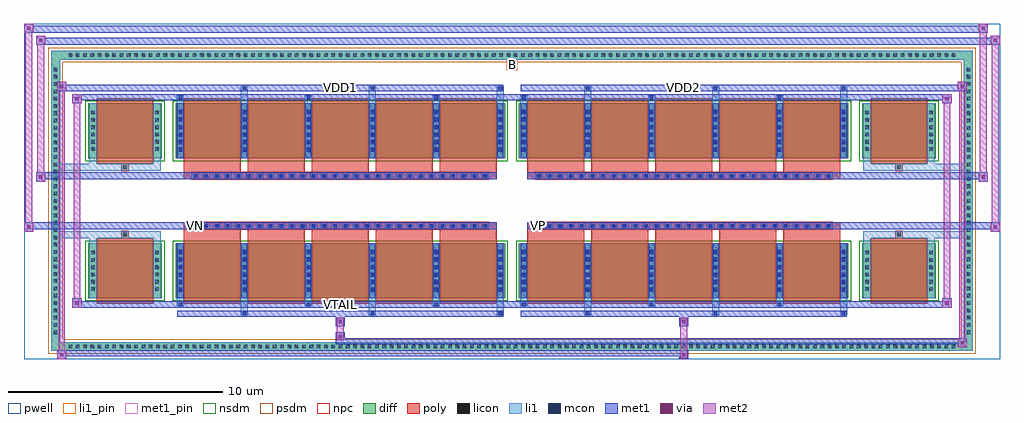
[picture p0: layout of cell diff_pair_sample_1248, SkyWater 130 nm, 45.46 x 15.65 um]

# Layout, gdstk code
import gdstk
lib = gdstk.Library(unit=1e-6, precision=5e-09)
def R(c, l, rs):  # rectangles x0, y0, x1, y1
    for r in rs: c.add(gdstk.rectangle(r[:2], r[2:], *l))
def A(c, l, x, y, w, h, nx, ny, dx, dy):  # array of equal rectangles
    R(c, l, [(x+i*dx, y+j*dy, x+i*dx+w, y+j*dy+h) for i in range(nx) for j in range(ny)])
def P(c, l, *ps):  # polygons
    for p in ps: c.add(gdstk.Polygon(p, *l))
pwell = (64, 44)
diff = (65, 20)
poly = (66, 20)
licon = (66, 44)
li1_pin = (67, 16)
li1 = (67, 20)
mcon = (67, 44)
met1_pin = (68, 16)
met1 = (68, 20)
via = (68, 44)
met2 = (69, 20)
nsdm = (93, 44)
psdm = (94, 20)
npc = (95, 20)

diff_pair_sample_1248 = lib.new_cell('diff_pair_sample_1248')
R(diff_pair_sample_1248, pwell, [(-22.73,-7.39,22.73,8.26), (-20.05,-5.58,-0.01,-0.8), (0.01,-5.58,20.05,-0.8), (-20.05,0.8,-0.01,5.58), (0.01,0.8,20.05,5.58)])
A(diff_pair_sample_1248, diff, -20.775, -6.99, 0.41, 0.41, 122, 2, 0.34, 13.57)
A(diff_pair_sample_1248, diff, -21.46, -6.325, 0.41, 0.41, 1, 37, 0, 0.34)
A(diff_pair_sample_1248, diff, 21.05, -6.325, 0.41, 0.41, 1, 37, 0, 0.34)
R(diff_pair_sample_1248, diff, [(-20.775,-6.99,20.775,-6.58), (-21.46,-6.325,-21.05,6.325), (21.05,-6.325,21.46,6.325), (-19.74,-4.535,-16.31,-1.985), (-15.67,-4.535,-0.32,-1.985), (0.32,-4.535,15.67,-1.985), (16.31,-4.535,19.74,-1.985), (-19.74,1.985,-16.31,4.535), (-15.67,1.985,-0.32,4.535), (0.32,1.985,15.67,4.535), (16.31,1.985,19.74,4.535), (-20.775,6.58,20.775,6.99)])
P(diff_pair_sample_1248, diff, [(21.46,6.99),(-21.46,6.99),(-21.46,-6.58),(-21.05,-6.58),(-21.05,6.58),(21.05,6.58),(21.05,-6.58),(-21.05,-6.58),(-21.46,-6.58),(-21.46,-6.99),(21.46,-6.99)])
A(diff_pair_sample_1248, poly, -15.28, -4.785, 2.65, 3.05, 5, 2, 2.98, 6.52)
A(diff_pair_sample_1248, poly, 0.71, -4.785, 2.65, 3.05, 5, 2, 2.98, 6.52)
A(diff_pair_sample_1248, poly, -15.28, -1.735, 2.65, 0.405, 5, 2, 2.98, 3.065)
A(diff_pair_sample_1248, poly, 0.71, -1.735, 2.65, 0.405, 5, 2, 2.98, 3.065)
A(diff_pair_sample_1248, poly, -14.91, -1.33, 0.33, 0.33, 28, 2, 0.5, 2.33)
A(diff_pair_sample_1248, poly, 1.08, -1.33, 0.33, 0.33, 28, 2, 0.5, 2.33)
R(diff_pair_sample_1248, poly, [(-19.35,-4.785,-16.7,-1.735), (16.7,-4.785,19.35,-1.735), (-18.19,-1.735,-17.86,-1.405), (-18.19,-1.735,-17.86,-1.405), (17.86,-1.735,18.19,-1.405), (17.86,-1.735,18.19,-1.405), (-15.28,-1.33,-0.71,-1), (0.71,-1.33,15.28,-1), (-15.28,1,-0.71,1.33), (0.71,1,15.28,1.33), (-18.19,1.405,-17.86,1.735), (-18.19,1.405,-17.86,1.735), (17.86,1.405,18.19,1.735), (17.86,1.405,18.19,1.735), (-19.35,1.735,-16.7,4.785), (16.7,1.735,19.35,4.785)])
A(diff_pair_sample_1248, licon, -20.655, -6.87, 0.17, 0.17, 122, 2, 0.34, 13.57)
A(diff_pair_sample_1248, licon, -21.34, -6.205, 0.17, 0.17, 1, 37, 0, 0.34)
A(diff_pair_sample_1248, licon, 21.17, -6.205, 0.17, 0.17, 1, 37, 0, 0.34)
A(diff_pair_sample_1248, licon, -19.6, -4.195, 0.17, 0.17, 1, 6, 0, 0.34)
A(diff_pair_sample_1248, licon, -16.62, -4.195, 0.17, 0.17, 1, 6, 0, 0.34)
A(diff_pair_sample_1248, licon, -15.53, -4.195, 0.17, 0.17, 6, 6, 2.98, 0.34)
A(diff_pair_sample_1248, licon, 0.46, -4.195, 0.17, 0.17, 6, 6, 2.98, 0.34)
A(diff_pair_sample_1248, licon, 16.45, -4.195, 0.17, 0.17, 1, 6, 0, 0.34)
A(diff_pair_sample_1248, licon, 19.43, -4.195, 0.17, 0.17, 1, 6, 0, 0.34)
A(diff_pair_sample_1248, licon, -14.83, -1.25, 0.17, 0.17, 28, 2, 0.5, 2.33)
A(diff_pair_sample_1248, licon, 1.16, -1.25, 0.17, 0.17, 28, 2, 0.5, 2.33)
A(diff_pair_sample_1248, licon, -19.6, 2.325, 0.17, 0.17, 1, 6, 0, 0.34)
A(diff_pair_sample_1248, licon, -16.62, 2.325, 0.17, 0.17, 1, 6, 0, 0.34)
A(diff_pair_sample_1248, licon, -15.53, 2.325, 0.17, 0.17, 6, 6, 2.98, 0.34)
A(diff_pair_sample_1248, licon, 0.46, 2.325, 0.17, 0.17, 6, 6, 2.98, 0.34)
A(diff_pair_sample_1248, licon, 16.45, 2.325, 0.17, 0.17, 1, 6, 0, 0.34)
A(diff_pair_sample_1248, licon, 19.43, 2.325, 0.17, 0.17, 1, 6, 0, 0.34)
R(diff_pair_sample_1248, licon, [(-18.11,-1.655,-17.94,-1.485), (17.94,-1.655,18.11,-1.485), (-18.11,1.485,-17.94,1.655), (17.94,1.485,18.11,1.655)])
R(diff_pair_sample_1248, li1_pin, [(-0.25,6.08,0.25,6.58)])
A(diff_pair_sample_1248, li1, -20.735, -6.95, 0.33, 0.33, 122, 2, 0.34, 13.57)
A(diff_pair_sample_1248, li1, -21.42, -6.285, 0.33, 0.33, 1, 37, 0, 0.34)
A(diff_pair_sample_1248, li1, 21.09, -6.285, 0.33, 0.33, 1, 37, 0, 0.34)
A(diff_pair_sample_1248, li1, -12.63, -5.34, 0.33, 0.805, 3, 2, 5.96, 9.875)
A(diff_pair_sample_1248, li1, -12.55, -5.34, 0.17, 0.17, 3, 2, 5.96, 10.51)
A(diff_pair_sample_1248, li1, 3.36, -5.34, 0.33, 0.805, 3, 2, 5.96, 9.875)
A(diff_pair_sample_1248, li1, 3.44, -5.34, 0.17, 0.17, 3, 2, 5.96, 10.51)
A(diff_pair_sample_1248, li1, -15.61, -4.91, 0.33, 0.375, 3, 2, 5.96, 9.445)
A(diff_pair_sample_1248, li1, -15.53, -4.91, 0.17, 0.17, 3, 2, 5.96, 9.65)
A(diff_pair_sample_1248, li1, 0.38, -4.91, 0.33, 0.375, 3, 2, 5.96, 9.445)
A(diff_pair_sample_1248, li1, 0.46, -4.91, 0.17, 0.17, 3, 2, 5.96, 9.65)
A(diff_pair_sample_1248, li1, -15.61, -4.535, 0.33, 2.55, 6, 2, 2.98, 6.52)
A(diff_pair_sample_1248, li1, 0.38, -4.535, 0.33, 2.55, 6, 2, 2.98, 6.52)
A(diff_pair_sample_1248, li1, -19.68, -4.275, 0.33, 0.33, 1, 6, 0, 0.34)
A(diff_pair_sample_1248, li1, -16.7, -4.275, 0.33, 0.33, 1, 6, 0, 0.34)
A(diff_pair_sample_1248, li1, -15.61, -4.275, 0.33, 0.33, 6, 6, 2.98, 0.34)
A(diff_pair_sample_1248, li1, 0.38, -4.275, 0.33, 0.33, 6, 6, 2.98, 0.34)
A(diff_pair_sample_1248, li1, 16.37, -4.275, 0.33, 0.33, 1, 6, 0, 0.34)
A(diff_pair_sample_1248, li1, 19.35, -4.275, 0.33, 0.33, 1, 6, 0, 0.34)
A(diff_pair_sample_1248, li1, -15.53, -4.245, 0.17, 0.17, 6, 6, 2.98, 0.36)
A(diff_pair_sample_1248, li1, -15.53, -4.245, 0.17, 1.97, 6, 2, 2.98, 6.52)
A(diff_pair_sample_1248, li1, 0.46, -4.245, 0.17, 0.17, 6, 6, 2.98, 0.36)
A(diff_pair_sample_1248, li1, 0.46, -4.245, 0.17, 1.97, 6, 2, 2.98, 6.52)
A(diff_pair_sample_1248, li1, -14.91, -1.33, 0.33, 0.33, 28, 2, 0.5, 2.33)
A(diff_pair_sample_1248, li1, 1.08, -1.33, 0.33, 0.33, 28, 2, 0.5, 2.33)
A(diff_pair_sample_1248, li1, -19.68, 2.245, 0.33, 0.33, 1, 6, 0, 0.34)
A(diff_pair_sample_1248, li1, -16.7, 2.245, 0.33, 0.33, 1, 6, 0, 0.34)
A(diff_pair_sample_1248, li1, -15.61, 2.245, 0.33, 0.33, 6, 6, 2.98, 0.34)
A(diff_pair_sample_1248, li1, 0.38, 2.245, 0.33, 0.33, 6, 6, 2.98, 0.34)
A(diff_pair_sample_1248, li1, 16.37, 2.245, 0.33, 0.33, 1, 6, 0, 0.34)
A(diff_pair_sample_1248, li1, 19.35, 2.245, 0.33, 0.33, 1, 6, 0, 0.34)
A(diff_pair_sample_1248, li1, -15.53, 2.275, 0.17, 0.17, 6, 6, 2.98, 0.36)
A(diff_pair_sample_1248, li1, 0.46, 2.275, 0.17, 0.17, 6, 6, 2.98, 0.36)
R(diff_pair_sample_1248, li1, [(-21.46,-6.99,-21.05,-6.58), (-21.46,-6.99,-21.05,-6.58), (-21.05,-6.99,21.05,-6.58), (21.05,-6.99,21.46,-6.58), (21.05,-6.99,21.46,-6.58), (-21.46,-6.58,-21.05,6.58), (21.05,-6.58,21.46,6.58), (-19.68,-4.535,-19.35,-1.985), (-16.7,-4.535,-16.37,-1.985), (16.37,-4.535,16.7,-1.985), (19.35,-4.535,19.68,-1.985), (-19.68,-1.985,-19.35,-1.405), (-16.7,-1.985,-16.37,-1.405), (16.37,-1.985,16.7,-1.405), (19.35,-1.985,19.68,-1.405), (-21.46,-1.735,-18.19,-1.405), (-19.68,-1.735,-18.19,-1.405), (-18.19,-1.735,-17.86,-1.405), (-17.86,-1.735,-16.37,-1.405), (16.37,-1.735,17.86,-1.405), (17.86,-1.735,18.19,-1.405), (17.86,-1.735,21.46,-1.405), (18.19,-1.735,19.68,-1.405), (-21.46,1.405,-18.19,1.735), (-19.68,1.405,-18.19,1.735), (-19.68,1.405,-19.35,1.985), (-18.19,1.405,-17.86,1.735), (-17.86,1.405,-16.37,1.735), (-16.7,1.405,-16.37,1.985), (16.37,1.405,17.86,1.735), (16.37,1.405,16.7,1.985), (17.86,1.405,18.19,1.735), (17.86,1.405,21.46,1.735), (18.19,1.405,19.68,1.735), (19.35,1.405,19.68,1.985), (-19.68,1.985,-19.35,4.535), (-16.7,1.985,-16.37,4.535), (16.37,1.985,16.7,4.535), (19.35,1.985,19.68,4.535), (-21.46,6.58,-21.05,6.99), (-21.46,6.58,-21.05,6.99), (-21.05,6.58,21.05,6.99), (21.05,6.58,21.46,6.99), (21.05,6.58,21.46,6.99)])
A(diff_pair_sample_1248, mcon, -12.55, -5.34, 0.17, 0.17, 3, 2, 5.96, 10.51)
A(diff_pair_sample_1248, mcon, 3.44, -5.34, 0.17, 0.17, 3, 2, 5.96, 10.51)
A(diff_pair_sample_1248, mcon, -15.53, -4.91, 0.17, 0.17, 3, 2, 5.96, 9.65)
A(diff_pair_sample_1248, mcon, 0.46, -4.91, 0.17, 0.17, 3, 2, 5.96, 9.65)
A(diff_pair_sample_1248, mcon, -15.53, -4.245, 0.17, 0.17, 6, 6, 2.98, 0.36)
A(diff_pair_sample_1248, mcon, 0.46, -4.245, 0.17, 0.17, 6, 6, 2.98, 0.36)
A(diff_pair_sample_1248, mcon, -14.83, -1.25, 0.17, 0.17, 28, 2, 0.5, 2.33)
A(diff_pair_sample_1248, mcon, 1.16, -1.25, 0.17, 0.17, 28, 2, 0.5, 2.33)
A(diff_pair_sample_1248, mcon, -15.53, 2.275, 0.17, 0.17, 6, 6, 2.98, 0.36)
A(diff_pair_sample_1248, mcon, 0.46, 2.275, 0.17, 0.17, 6, 6, 2.98, 0.36)
R(diff_pair_sample_1248, met1_pin, [(-8.13,-4.95,-7.86,-4.68), (-14.88,-1.29,-14.61,-1.02), (1.11,-1.29,1.38,-1.02), (-8.13,5.13,-7.86,5.4), (7.86,5.13,8.13,5.4)])
A(diff_pair_sample_1248, met1, -12.61, -5.4, 0.29, 0.29, 3, 2, 5.96, 10.51)
A(diff_pair_sample_1248, met1, 3.38, -5.4, 0.29, 0.29, 3, 2, 5.96, 10.51)
A(diff_pair_sample_1248, met1, -15.59, -4.97, 0.29, 0.29, 3, 2, 5.96, 9.65)
A(diff_pair_sample_1248, met1, 0.4, -4.97, 0.29, 0.29, 3, 2, 5.96, 9.65)
A(diff_pair_sample_1248, met1, -15.59, -4.535, 0.29, 2.55, 6, 2, 2.98, 6.52)
A(diff_pair_sample_1248, met1, 0.4, -4.535, 0.29, 2.55, 6, 2, 2.98, 6.52)
A(diff_pair_sample_1248, met1, -15.59, -4.305, 0.29, 0.29, 6, 6, 2.98, 0.36)
A(diff_pair_sample_1248, met1, 0.4, -4.305, 0.29, 0.29, 6, 6, 2.98, 0.36)
A(diff_pair_sample_1248, met1, -14.89, -1.31, 0.29, 0.29, 28, 2, 0.5, 2.33)
A(diff_pair_sample_1248, met1, 1.1, -1.31, 0.29, 0.29, 28, 2, 0.5, 2.33)
A(diff_pair_sample_1248, met1, -15.59, 2.215, 0.29, 0.29, 6, 6, 2.98, 0.36)
A(diff_pair_sample_1248, met1, 0.4, 2.215, 0.29, 0.29, 6, 6, 2.98, 0.36)
R(diff_pair_sample_1248, met1, [(-21.19,-7.39,-20.76,-6.96), (7.78,-7.39,8.21,-6.96), (-21.19,-7.25,8.21,-6.96), (20.76,-6.82,21.19,-6.39), (-8.21,-6.68,21.19,-6.39), (-8.21,-6.54,-7.78,-6.11), (-8.21,-5.83,-7.78,-5.4), (7.78,-5.83,8.21,-5.4), (-15.59,-5.4,-0.4,-5.11), (0.4,-5.4,15.59,-5.11), (-20.48,-4.97,-20.05,-4.54), (-20.48,-4.97,-15.59,-4.68), (-15.59,-4.97,-0.4,-4.68), (-0.4,-4.97,0.4,-4.68), (0.4,-4.97,15.59,-4.68), (15.59,-4.97,20.48,-4.68), (20.05,-4.97,20.48,-4.54), (-22.73,-1.43,-22.3,-1), (22.3,-1.43,22.73,-1), (-22.73,-1.33,-0.71,-1), (-15.28,-1.33,-0.71,-1), (0.71,-1.33,15.28,-1), (0.71,-1.33,22.73,-1), (-22.16,0.9,-21.73,1.33), (21.73,0.9,22.16,1.33), (-22.16,1,-15.28,1.33), (-15.28,1,-0.71,1.33), (0.71,1,15.28,1.33), (15.28,1,22.16,1.33), (-20.48,4.54,-20.05,4.97), (20.05,4.54,20.48,4.97), (-20.48,4.68,-15.59,4.97), (-15.59,4.68,-0.4,4.97), (-0.4,4.68,0.4,4.97), (0.4,4.68,15.59,4.97), (15.59,4.68,20.48,4.97), (-21.19,5.11,-20.76,5.54), (-21.19,5.11,-15.59,5.4), (-15.59,5.11,-0.4,5.4), (0.4,5.11,15.59,5.4), (15.59,5.11,21.19,5.4), (20.76,5.11,21.19,5.54), (-22.16,7.26,-21.73,7.69), (-22.16,7.26,-20.05,7.59), (-20.05,7.26,20.05,7.59), (20.05,7.26,22.73,7.59), (22.3,7.26,22.73,7.69), (-22.73,7.83,-22.3,8.26), (-22.73,7.83,-20.05,8.16), (-20.05,7.83,20.05,8.16), (20.05,7.83,22.16,8.16), (21.73,7.83,22.16,8.26)])
R(diff_pair_sample_1248, via, [(-21.05,-7.25,-20.9,-7.1), (7.92,-7.25,8.07,-7.1), (20.9,-6.68,21.05,-6.53), (-8.07,-6.4,-7.92,-6.25), (-8.07,-5.69,-7.92,-5.54), (7.92,-5.69,8.07,-5.54), (-20.34,-4.83,-20.19,-4.68), (20.19,-4.83,20.34,-4.68), (-22.59,-1.29,-22.44,-1.14), (22.44,-1.29,22.59,-1.14), (-22.02,1.04,-21.87,1.19), (21.87,1.04,22.02,1.19), (-20.34,4.68,-20.19,4.83), (20.19,4.68,20.34,4.83), (-21.05,5.25,-20.9,5.4), (20.9,5.25,21.05,5.4), (-22.02,7.4,-21.87,7.55), (22.44,7.4,22.59,7.55), (-22.59,7.97,-22.44,8.12), (21.87,7.97,22.02,8.12)])
R(diff_pair_sample_1248, met2, [(-21.19,-7.39,-20.76,-6.96), (-21.12,-7.39,-20.83,5.54), (-20.83,-7.39,-20.76,-6.96), (-21.14,-7.34,-20.81,-7.01), (7.83,-7.34,8.16,-7.01), (7.83,-7.01,8.16,-5.78), (20.76,-6.82,21.19,-6.39), (20.83,-6.82,21.12,5.54), (21.12,-6.82,21.19,-6.39), (20.81,-6.77,21.14,-6.44), (-8.16,-6.49,-7.83,-6.16), (-8.16,-6.16,-7.83,-5.78), (-8.16,-5.78,-7.83,-5.45), (7.83,-5.78,8.16,-5.45), (-20.48,-4.97,-20.05,-4.54), (-20.41,-4.97,-20.12,4.97), (-20.12,-4.97,-20.05,-4.54), (20.05,-4.97,20.48,-4.54), (20.12,-4.97,20.41,4.97), (20.41,-4.97,20.48,-4.54), (-20.43,-4.92,-20.1,-4.59), (20.1,-4.92,20.43,-4.59), (-22.73,-1.43,-22.3,-1), (-22.68,-1.43,-22.35,8.26), (-22.35,-1.43,-22.3,-1), (22.3,-1.43,22.73,-1), (22.35,-1.43,22.68,7.69), (22.68,-1.43,22.73,-1), (-22.68,-1.38,-22.35,-1.05), (22.35,-1.38,22.68,-1.05), (-22.16,0.9,-21.73,1.33), (-22.11,0.9,-21.78,7.69), (-21.78,0.9,-21.73,1.33), (21.73,0.9,22.16,1.33), (21.78,0.9,22.11,8.26), (22.11,0.9,22.16,1.33), (-22.11,0.95,-21.78,1.28), (21.78,0.95,22.11,1.28), (-20.48,4.54,-20.05,4.97), (-20.12,4.54,-20.05,4.97), (20.05,4.54,20.48,4.97), (20.41,4.54,20.48,4.97), (-20.43,4.59,-20.1,4.92), (20.1,4.59,20.43,4.92), (-21.19,5.11,-20.76,5.54), (-20.83,5.11,-20.76,5.54), (20.76,5.11,21.19,5.54), (21.12,5.11,21.19,5.54), (-21.14,5.16,-20.81,5.49), (20.81,5.16,21.14,5.49), (-22.16,7.26,-21.73,7.69), (-21.78,7.26,-21.73,7.69), (22.3,7.26,22.73,7.69), (22.68,7.26,22.73,7.69), (-22.11,7.31,-21.78,7.64), (22.35,7.31,22.68,7.64), (-22.73,7.83,-22.3,8.26), (-22.35,7.83,-22.3,8.26), (21.73,7.83,22.16,8.26), (22.11,7.83,22.16,8.26), (-22.68,7.88,-22.35,8.21), (21.78,7.88,22.11,8.21)])
R(diff_pair_sample_1248, nsdm, [(-19.87,-4.665,-16.18,-1.855), (-15.8,-4.665,-0.19,-1.855), (0.19,-4.665,15.8,-1.855), (16.18,-4.665,19.87,-1.855), (-19.87,1.855,-16.18,4.665), (-15.8,1.855,-0.19,4.665), (0.19,1.855,15.8,4.665), (16.18,1.855,19.87,4.665)])
P(diff_pair_sample_1248, psdm, [(21.59,7.12),(-21.59,7.12),(-21.59,-6.45),(-20.92,-6.45),(-20.92,6.45),(20.92,6.45),(20.92,-6.45),(-20.92,-6.45),(-21.59,-6.45),(-21.59,-7.12),(21.59,-7.12)])
A(diff_pair_sample_1248, npc, -14.93, -1.35, 0.37, 0.37, 28, 2, 0.5, 2.33)
A(diff_pair_sample_1248, npc, 1.06, -1.35, 0.37, 0.37, 28, 2, 0.5, 2.33)
R(diff_pair_sample_1248, npc, [(-18.21,-1.755,-17.84,-1.385), (17.84,-1.755,18.21,-1.385), (-14.93,-1.35,-14.06,-0.98), (-14.93,-1.35,-14.06,-0.98), (-14.43,-1.35,-13.56,-0.98), (-14.43,-1.35,-13.56,-0.98), (-13.93,-1.35,-13.06,-0.98), (-13.93,-1.35,-13.06,-0.98), (-13.43,-1.35,-12.56,-0.98), (-13.43,-1.35,-12.56,-0.98), (-12.93,-1.35,-12.06,-0.98), (-12.93,-1.35,-12.06,-0.98), (-12.43,-1.35,-11.56,-0.98), (-12.43,-1.35,-11.56,-0.98), (-11.93,-1.35,-11.06,-0.98), (-11.93,-1.35,-11.06,-0.98), (-11.43,-1.35,-10.56,-0.98), (-11.43,-1.35,-10.56,-0.98), (-10.93,-1.35,-10.06,-0.98), (-10.93,-1.35,-10.06,-0.98), (-10.43,-1.35,-9.56,-0.98), (-10.43,-1.35,-9.56,-0.98), (-9.93,-1.35,-9.06,-0.98), (-9.93,-1.35,-9.06,-0.98), (-9.43,-1.35,-8.56,-0.98), (-9.43,-1.35,-8.56,-0.98), (-8.93,-1.35,-8.06,-0.98), (-8.93,-1.35,-8.06,-0.98), (-8.43,-1.35,-7.56,-0.98), (-8.43,-1.35,-7.56,-0.98), (-7.93,-1.35,-7.06,-0.98), (-7.93,-1.35,-7.06,-0.98), (-7.43,-1.35,-6.56,-0.98), (-7.43,-1.35,-6.56,-0.98), (-6.93,-1.35,-6.06,-0.98), (-6.93,-1.35,-6.06,-0.98), (-6.43,-1.35,-5.56,-0.98), (-6.43,-1.35,-5.56,-0.98), (-5.93,-1.35,-5.06,-0.98), (-5.93,-1.35,-5.06,-0.98), (-5.43,-1.35,-4.56,-0.98), (-5.43,-1.35,-4.56,-0.98), (-4.93,-1.35,-4.06,-0.98), (-4.93,-1.35,-4.06,-0.98), (-4.43,-1.35,-3.56,-0.98), (-4.43,-1.35,-3.56,-0.98), (-3.93,-1.35,-3.06,-0.98), (-3.93,-1.35,-3.06,-0.98), (-3.43,-1.35,-2.56,-0.98), (-3.43,-1.35,-2.56,-0.98), (-2.93,-1.35,-2.06,-0.98), (-2.93,-1.35,-2.06,-0.98), (-2.43,-1.35,-1.56,-0.98), (-2.43,-1.35,-1.56,-0.98), (-1.93,-1.35,-1.06,-0.98), (-1.93,-1.35,-1.06,-0.98), (1.06,-1.35,1.93,-0.98), (1.06,-1.35,1.93,-0.98), (1.56,-1.35,2.43,-0.98), (1.56,-1.35,2.43,-0.98), (2.06,-1.35,2.93,-0.98), (2.06,-1.35,2.93,-0.98), (2.56,-1.35,3.43,-0.98), (2.56,-1.35,3.43,-0.98), (3.06,-1.35,3.93,-0.98), (3.06,-1.35,3.93,-0.98), (3.56,-1.35,4.43,-0.98), (3.56,-1.35,4.43,-0.98), (4.06,-1.35,4.93,-0.98), (4.06,-1.35,4.93,-0.98), (4.56,-1.35,5.43,-0.98), (4.56,-1.35,5.43,-0.98), (5.06,-1.35,5.93,-0.98), (5.06,-1.35,5.93,-0.98), (5.56,-1.35,6.43,-0.98), (5.56,-1.35,6.43,-0.98), (6.06,-1.35,6.93,-0.98), (6.06,-1.35,6.93,-0.98), (6.56,-1.35,7.43,-0.98), (6.56,-1.35,7.43,-0.98), (7.06,-1.35,7.93,-0.98), (7.06,-1.35,7.93,-0.98), (7.56,-1.35,8.43,-0.98), (7.56,-1.35,8.43,-0.98), (8.06,-1.35,8.93,-0.98), (8.06,-1.35,8.93,-0.98), (8.56,-1.35,9.43,-0.98), (8.56,-1.35,9.43,-0.98), (9.06,-1.35,9.93,-0.98), (9.06,-1.35,9.93,-0.98), (9.56,-1.35,10.43,-0.98), (9.56,-1.35,10.43,-0.98), (10.06,-1.35,10.93,-0.98), (10.06,-1.35,10.93,-0.98), (10.56,-1.35,11.43,-0.98), (10.56,-1.35,11.43,-0.98), (11.06,-1.35,11.93,-0.98), (11.06,-1.35,11.93,-0.98), (11.56,-1.35,12.43,-0.98), (11.56,-1.35,12.43,-0.98), (12.06,-1.35,12.93,-0.98), (12.06,-1.35,12.93,-0.98), (12.56,-1.35,13.43,-0.98), (12.56,-1.35,13.43,-0.98), (13.06,-1.35,13.93,-0.98), (13.06,-1.35,13.93,-0.98), (13.56,-1.35,14.43,-0.98), (13.56,-1.35,14.43,-0.98), (14.06,-1.35,14.93,-0.98), (14.06,-1.35,14.93,-0.98), (-14.93,0.98,-14.06,1.35), (-14.93,0.98,-14.06,1.35), (-14.43,0.98,-13.56,1.35), (-14.43,0.98,-13.56,1.35), (-13.93,0.98,-13.06,1.35), (-13.93,0.98,-13.06,1.35), (-13.43,0.98,-12.56,1.35), (-13.43,0.98,-12.56,1.35), (-12.93,0.98,-12.06,1.35), (-12.93,0.98,-12.06,1.35), (-12.43,0.98,-11.56,1.35), (-12.43,0.98,-11.56,1.35), (-11.93,0.98,-11.06,1.35), (-11.93,0.98,-11.06,1.35), (-11.43,0.98,-10.56,1.35), (-11.43,0.98,-10.56,1.35), (-10.93,0.98,-10.06,1.35), (-10.93,0.98,-10.06,1.35), (-10.43,0.98,-9.56,1.35), (-10.43,0.98,-9.56,1.35), (-9.93,0.98,-9.06,1.35), (-9.93,0.98,-9.06,1.35), (-9.43,0.98,-8.56,1.35), (-9.43,0.98,-8.56,1.35), (-8.93,0.98,-8.06,1.35), (-8.93,0.98,-8.06,1.35), (-8.43,0.98,-7.56,1.35), (-8.43,0.98,-7.56,1.35), (-7.93,0.98,-7.06,1.35), (-7.93,0.98,-7.06,1.35), (-7.43,0.98,-6.56,1.35), (-7.43,0.98,-6.56,1.35), (-6.93,0.98,-6.06,1.35), (-6.93,0.98,-6.06,1.35), (-6.43,0.98,-5.56,1.35), (-6.43,0.98,-5.56,1.35), (-5.93,0.98,-5.06,1.35), (-5.93,0.98,-5.06,1.35), (-5.43,0.98,-4.56,1.35), (-5.43,0.98,-4.56,1.35), (-4.93,0.98,-4.06,1.35), (-4.93,0.98,-4.06,1.35), (-4.43,0.98,-3.56,1.35), (-4.43,0.98,-3.56,1.35), (-3.93,0.98,-3.06,1.35), (-3.93,0.98,-3.06,1.35), (-3.43,0.98,-2.56,1.35), (-3.43,0.98,-2.56,1.35), (-2.93,0.98,-2.06,1.35), (-2.93,0.98,-2.06,1.35), (-2.43,0.98,-1.56,1.35), (-2.43,0.98,-1.56,1.35), (-1.93,0.98,-1.06,1.35), (-1.93,0.98,-1.06,1.35), (1.06,0.98,1.93,1.35), (1.06,0.98,1.93,1.35), (1.56,0.98,2.43,1.35), (1.56,0.98,2.43,1.35), (2.06,0.98,2.93,1.35), (2.06,0.98,2.93,1.35), (2.56,0.98,3.43,1.35), (2.56,0.98,3.43,1.35), (3.06,0.98,3.93,1.35), (3.06,0.98,3.93,1.35), (3.56,0.98,4.43,1.35), (3.56,0.98,4.43,1.35), (4.06,0.98,4.93,1.35), (4.06,0.98,4.93,1.35), (4.56,0.98,5.43,1.35), (4.56,0.98,5.43,1.35), (5.06,0.98,5.93,1.35), (5.06,0.98,5.93,1.35), (5.56,0.98,6.43,1.35), (5.56,0.98,6.43,1.35), (6.06,0.98,6.93,1.35), (6.06,0.98,6.93,1.35), (6.56,0.98,7.43,1.35), (6.56,0.98,7.43,1.35), (7.06,0.98,7.93,1.35), (7.06,0.98,7.93,1.35), (7.56,0.98,8.43,1.35), (7.56,0.98,8.43,1.35), (8.06,0.98,8.93,1.35), (8.06,0.98,8.93,1.35), (8.56,0.98,9.43,1.35), (8.56,0.98,9.43,1.35), (9.06,0.98,9.93,1.35), (9.06,0.98,9.93,1.35), (9.56,0.98,10.43,1.35), (9.56,0.98,10.43,1.35), (10.06,0.98,10.93,1.35), (10.06,0.98,10.93,1.35), (10.56,0.98,11.43,1.35), (10.56,0.98,11.43,1.35), (11.06,0.98,11.93,1.35), (11.06,0.98,11.93,1.35), (11.56,0.98,12.43,1.35), (11.56,0.98,12.43,1.35), (12.06,0.98,12.93,1.35), (12.06,0.98,12.93,1.35), (12.56,0.98,13.43,1.35), (12.56,0.98,13.43,1.35), (13.06,0.98,13.93,1.35), (13.06,0.98,13.93,1.35), (13.56,0.98,14.43,1.35), (13.56,0.98,14.43,1.35), (14.06,0.98,14.93,1.35), (14.06,0.98,14.93,1.35), (-18.21,1.385,-17.84,1.755), (17.84,1.385,18.21,1.755)])
diff_pair_sample_1248.add(gdstk.Label('VTAIL', (-7.995,-4.815), layer=68, texttype=5))
diff_pair_sample_1248.add(gdstk.Label('VN', (-14.745,-1.155), layer=68, texttype=5))
diff_pair_sample_1248.add(gdstk.Label('VP', (1.245,-1.155), layer=68, texttype=5))
diff_pair_sample_1248.add(gdstk.Label('B', (0,6.33), layer=67, texttype=5))
diff_pair_sample_1248.add(gdstk.Label('VDD2', (7.995,5.265), layer=68, texttype=5))
diff_pair_sample_1248.add(gdstk.Label('VDD1', (-7.995,5.265), layer=68, texttype=5))

lib.write_gds('diff_pair_sample_1248.gds')
